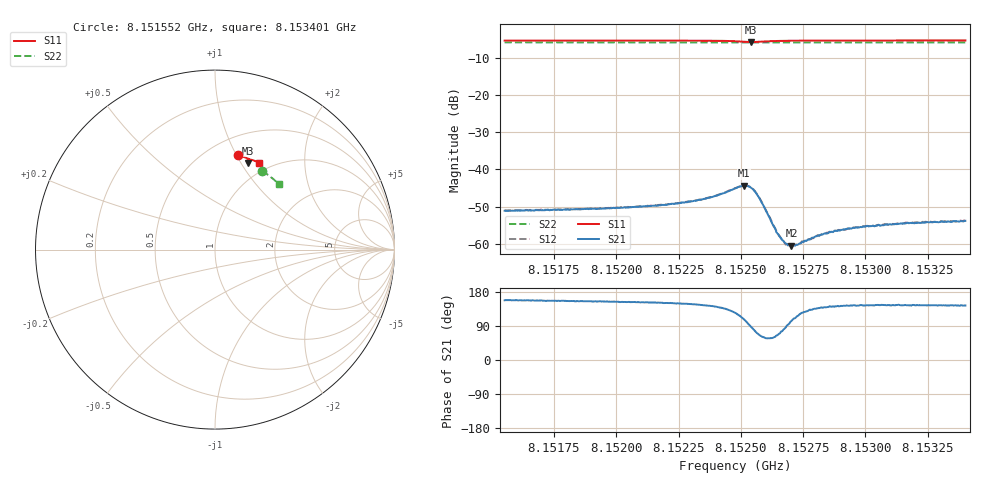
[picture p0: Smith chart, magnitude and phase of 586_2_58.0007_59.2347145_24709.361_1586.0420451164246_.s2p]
#  HZ  S  RI  R  50.00
! Rohde & Schwarz Vector Network Analyzer
! Rohde-Schwarz,ZNB20-2Port,1311601062101988,3.16
! Created: UTC 3/21/2024, 1:16:37 AM
! freq[Hz]  re:S11  im:S11  re:S21  im:S21  re:S12  im:S12  re:S22  im:S22
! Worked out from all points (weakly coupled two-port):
!   401 points, 8.151552 GHz to 8.153401 GHz, reference 50 ohm
!   highest |S21| = -44.36 dB at 8.152514 GHz (marker M1); lowest = -60.5 dB at 8.152703 GHz (marker M2)
!   lowest |S11| = -5.7 dB at 8.152541 GHz (marker M3), VSWR 3.14, Z = 40.8 + j53.8 ohm
!   |S11| at or under -10 dB: nowhere
!   |S22| runs from -5.9 to -5.8 dB; largest |S21 - S12| = 0.00013
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8.1515523e9  0.1275 0.5247  -0.00257 0.00106  -0.00258 0.0011  0.2638 0.4385
8.1518619e9  0.1491 0.5194  -0.00267 0.00123  -0.00267 0.00129  0.2803 0.4275
8.1521715e9  0.1714 0.5126  -0.0029 0.00159  -0.0029 0.00165  0.2965 0.4159
8.1523471e9  0.1854 0.5062  -0.00326 0.00229  -0.00324 0.00231  0.3055 0.4091
8.1524072e9  0.1909 0.5022  -0.00342 0.00292  -0.00343 0.00298  0.3084 0.4066
8.1524765e9  0.1958 0.4926  -0.00316 0.00458  -0.00311 0.00465  0.3118 0.4034
8.1525135e9  0.1926 0.4846  -0.00173 0.0058  -0.00167 0.00589  0.3132 0.4019
8.1525412e9  0.1848 0.4826  0.000282 0.00565  0.000347 0.00574  0.3142 0.4008
8.1525551e9  0.1809 0.4847  0.00114 0.00499  0.00121 0.00504  0.3148 0.4004
8.1525736e9  0.1784 0.4895  0.00168 0.0038  0.00172 0.00383  0.3157 0.3999
8.1526383e9  0.1846 0.5005  0.000764 0.00141  0.000744 0.0014  0.3192 0.3977
8.1526614e9  0.1879 0.5015  0.000307 0.00115  0.000371 0.00112  0.3203 0.3968
8.1526799e9  0.1903 0.502  7.32e-05 0.00101  8.29e-05 0.000972  0.3214 0.396
8.1526891e9  0.1914 0.5022  -5.41e-05 0.00095  -3.53e-05 0.000987  0.3218 0.3958
8.152703e9  0.193 0.5021  -0.000212 0.000917  -0.0002 0.000967  0.3225 0.3951
8.1527261e9  0.1955 0.502  -0.00042 0.000876  -0.000429 0.000882  0.3236 0.3942
8.1527862e9  0.2011 0.5011  -0.000831 0.000884  -0.000815 0.000868  0.3266 0.3915
8.1528462e9  0.2062 0.4997  -0.00105 0.000891  -0.00108 0.000924  0.3295 0.3891
8.1528971e9  0.2103 0.4985  -0.00118 0.000927  -0.0012 0.00094  0.3319 0.3869
8.1529987e9  0.2177 0.4959  -0.00137 0.001  -0.00141 0.00101  0.3368 0.3826
8.1530958e9  0.2245 0.4932  -0.00149 0.00105  -0.0015 0.00107  0.3413 0.3783
8.1534008e9  0.2446 0.4843  -0.00165 0.0012  -0.0016 0.00121  0.3552 0.3649
